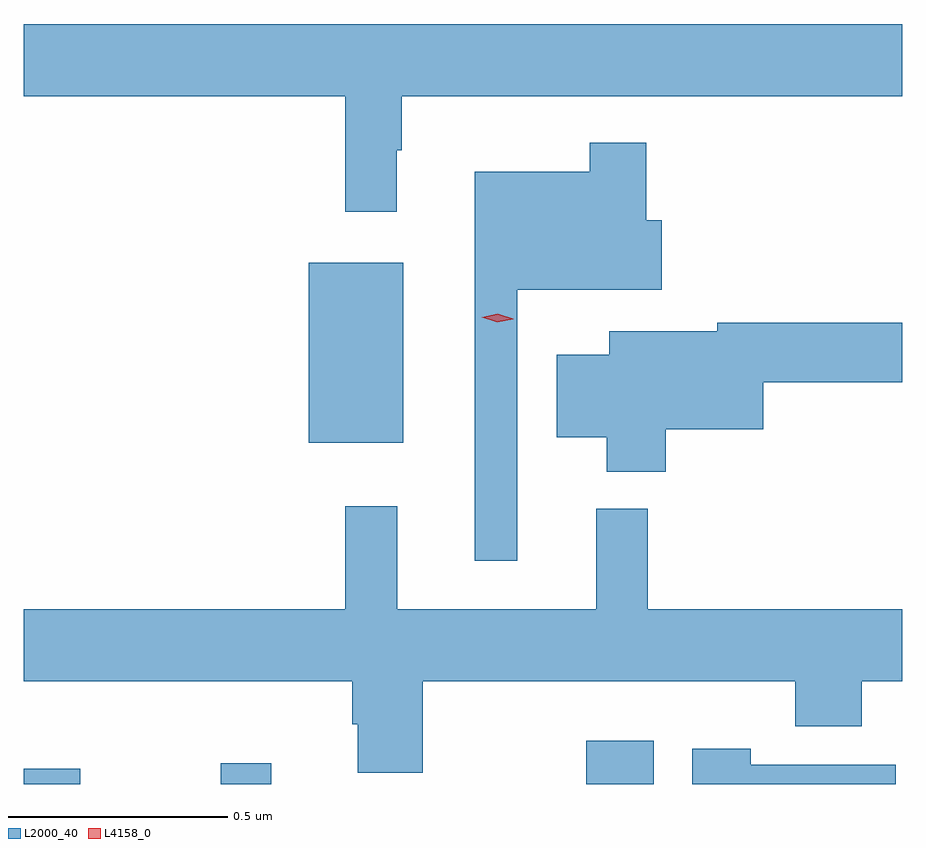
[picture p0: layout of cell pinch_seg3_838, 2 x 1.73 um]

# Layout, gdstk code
import gdstk
lib = gdstk.Library(unit=1e-6, precision=1e-09)
def R(c, l, rs):  # rectangles x0, y0, x1, y1
    for r in rs: c.add(gdstk.rectangle(r[:2], r[2:], *l))
def P(c, l, *ps):  # polygons
    for p in ps: c.add(gdstk.Polygon(p, *l))
L2000_40 = (2000, 40)
L4158_0 = (4158, 0)

pinch_seg3_838 = lib.new_cell('pinch_seg3_838')
R(pinch_seg3_838, L2000_40, [(849.133,725.99,849.262,726.025), (849.582,725.99,849.697,726.037), (850.413,725.99,850.567,726.089), (849.782,726.767,849.997,727.177)])
P(pinch_seg3_838, L2000_40, [(849.982,727.433),(849.994,727.433),(849.994,727.556),(851.133,727.556),(851.133,727.72),(849.133,727.72),(849.133,727.556),(849.865,727.556),(849.865,727.293),(849.982,727.293)],
  [(850.257,727.115),(850.585,727.115),(850.585,727.273),(850.55,727.273),(850.55,727.45),(850.422,727.45),(850.422,727.384),(850.16,727.384),(850.16,726.498),(850.257,726.498)],
  [(850.595,726.797),(850.816,726.797),(850.816,726.904),(851.133,726.904),(851.133,727.04),(850.712,727.04),(850.712,727.021),(850.466,727.021),(850.466,726.967),(850.346,726.967),(850.346,726.779),(850.46,726.779),(850.46,726.701),(850.595,726.701)],
  [(850.041,726.224),(850.889,726.224),(850.889,726.122),(851.041,726.122),(851.041,726.224),(851.133,726.224),(851.133,726.388),(850.553,726.388),(850.553,726.616),(850.436,726.616),(850.436,726.388),(849.983,726.388),(849.983,726.622),(849.865,726.622),(849.865,726.388),(849.133,726.388),(849.133,726.224),(849.881,726.224),(849.881,726.126),(849.893,726.126),(849.893,726.016),(850.041,726.016)],
  [(851.118,726.034),(850.788,726.034),(850.788,726.07),(850.655,726.07),(850.655,725.99),(851.118,725.99)])
P(pinch_seg3_838, L4158_0, [(850.211,727.041),(850.176,727.052),(850.176,727.053),(850.176,727.053),(850.212,727.061),(850.247,727.049),(850.247,727.049),(850.247,727.048)])

lib.write_gds('pinch_seg3_838.gds')
